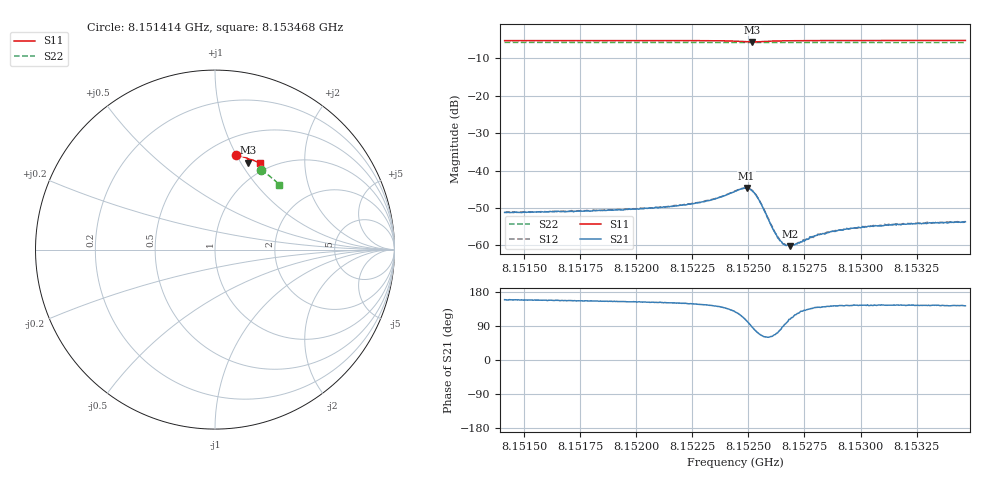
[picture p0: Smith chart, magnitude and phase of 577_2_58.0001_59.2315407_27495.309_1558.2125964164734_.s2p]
#  HZ  S  RI  R  50.00
! Rohde & Schwarz Vector Network Analyzer
! Rohde-Schwarz,ZNB20-2Port,1311601062101988,3.16
! Created: UTC 3/21/2024, 1:16:09 AM
! freq[Hz]  re:S11  im:S11  re:S21  im:S21  re:S12  im:S12  re:S22  im:S22
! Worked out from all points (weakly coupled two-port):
!   401 points, 8.151414 GHz to 8.153468 GHz, reference 50 ohm
!   highest |S21| = -44.69 dB at 8.152492 GHz (marker M1); lowest = -60.2 dB at 8.152687 GHz (marker M2)
!   lowest |S11| = -5.7 dB at 8.152518 GHz (marker M3), VSWR 3.15, Z = 40.5 + j53.7 ohm
!   |S11| at or under -10 dB: nowhere
!   |S22| runs from -5.9 to -5.8 dB; largest |S21 - S12| = 0.00013
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8.1514136e9  0.1183 0.5267  -0.00258 0.000982  -0.00258 0.00102  0.2563 0.4426
8.1517576e9  0.1422 0.5214  -0.00263 0.00115  -0.00266 0.00121  0.275 0.4307
8.1521016e9  0.1666 0.5142  -0.00283 0.00152  -0.00282 0.00156  0.293 0.418
8.1522916e9  0.1814 0.5083  -0.00317 0.00211  -0.00315 0.00216  0.3027 0.4106
8.1523635e9  0.1876 0.5041  -0.00334 0.00268  -0.00335 0.00273  0.3064 0.4077
8.1524405e9  0.1936 0.4952  -0.0032 0.00421  -0.00319 0.00427  0.3102 0.4044
8.1524713e9  0.1929 0.4892  -0.00243 0.00518  -0.00241 0.00523  0.3115 0.4029
8.1524919e9  0.1897 0.4855  -0.00141 0.00566  -0.00134 0.00568  0.3124 0.402
8.1525176e9  0.1829 0.4847  0.000312 0.00533  0.000385 0.00542  0.3133 0.4013
8.152533e9  0.1794 0.4871  0.00107 0.00463  0.00115 0.00467  0.3139 0.4007
8.1525484e9  0.1779 0.4907  0.00145 0.00374  0.00151 0.00374  0.3146 0.4003
8.1526049e9  0.1825 0.5001  0.000828 0.00157  0.000834 0.00163  0.3175 0.3986
8.1526254e9  0.1853 0.5014  0.000463 0.0013  0.000456 0.0013  0.3187 0.3977
8.1526408e9  0.1872 0.5021  0.000227 0.00114  0.000252 0.00114  0.3196 0.3971
8.1526613e9  0.1899 0.5026  -6.55e-05 0.00103  -5.26e-05 0.00105  0.3206 0.396
8.152687e9  0.1927 0.5025  -0.000304 0.000931  -0.000296 0.000991  0.322 0.3952
8.1527024e9  0.1943 0.5024  -0.000442 0.00091  -0.000445 0.000934  0.3227 0.3946
8.1527846e9  0.2019 0.5011  -0.000947 0.000913  -0.000915 0.000915  0.3267 0.3913
8.1528205e9  0.2049 0.5003  -0.00106 0.00093  -0.00108 0.000924  0.3282 0.3896
8.1529335e9  0.2133 0.4976  -0.00133 0.000967  -0.00132 0.000976  0.3339 0.3848
8.1531286e9  0.227 0.4923  -0.00154 0.00109  -0.00155 0.00112  0.343 0.3763
8.1534675e9  0.249 0.4822  -0.00165 0.00125  -0.00165 0.00125  0.3583 0.3612
